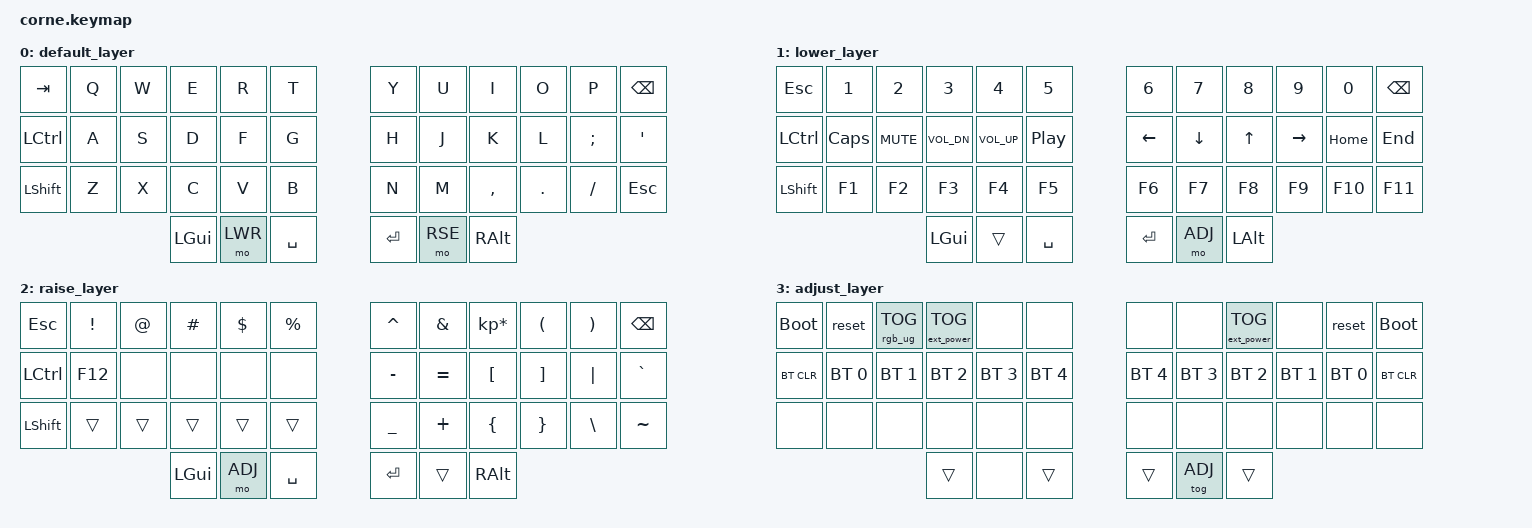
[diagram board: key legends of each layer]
/*
 * Copyright (c) 2020 The ZMK Contributors
 *
 * SPDX-License-Identifier: MIT
 */

#include <behaviors.dtsi>
#include <dt-bindings/zmk/keys.h>
#include <dt-bindings/zmk/bt.h>

#include <dt-bindings/zmk/ext_power.h>

#define DEF 0
#define LWR 1
#define RSE 2
#define ADJ 3

&mt { quick_tap_ms=<200>; };

/ {
        
    };
        keymap {
                compatible = "zmk,keymap";

                default_layer {
// -----------------------------------------------------------------------------------------
// |  TAB |  Q  |  W  |  E  |  R  |  T  |   |  Y  |  U   |  I  |  O  |  P  | BKSP |
// | CTRL |  A  |  S  |  D  |  F  |  G  |   |  H  |  J   |  K  |  L  |  ;  |  '   |
// | SHFT |  Z  |  X  |  C  |  V  |  B  |   |  N  |  M   |  ,  |  .  |  /  | ESC  |
//                    | GUI | LWR | SPC |   | ENT | RSE  | ALT |
                        bindings = <
   &kp TAB   &kp Q &kp W    &kp E &kp R &kp T       &kp Y   &kp U   &kp I     &kp O   &kp P    &kp BSPC
   &kp LCTRL &kp A &kp S    &kp D &kp F &kp G       &kp H   &kp J   &kp K     &kp L   &kp SEMI &kp SQT
   &kp LSHFT &kp Z &kp X    &kp C &kp V &kp B       &kp N   &kp M   &kp COMMA &kp DOT &kp FSLH &kp ESC
                   &kp LGUI &mo LWR     &kp SPACE   &kp RET &mo RSE &kp RALT
                        >;
                };
                lower_layer {
// -----------------------------------------------------------------------------------------
// |  ESC |  1  |  2  |  3  |  4  |  5  |   |  6  |  7  |  8  |  9  |  0  | BKSP |
// | CTRL |  F1 |  F2 |  F3 |  F4 | F5  |   |     |     |     | HOME|  UP | END  |
// | SHFT | CAPS| VOLD| VOLU| MUT | PP  |   |     |     |     | LFT | DWN | RGT  |
//                    | GUI |     | SPC |   | ENT |     | ALT |
                        bindings = <
   &kp ESC    &kp N1       &kp N2       &kp N3       &kp N4       &kp N5            &kp N6   &kp N7   &kp N8 &kp N9   &kp N0    &kp BSPC
   &kp LCTRL  &kp CAPS     &kp C_MUTE   &kp C_VOL_DN &kp C_VOL_UP   &kp C_PP        &kp LEFT   &kp DOWN   &kp UP &kp RIGHT &kp HOME    &kp END
   &kp LSHFT  &kp F1       &kp F2       &kp F3       &kp F4       &kp F5            &kp F6     &kp F7     &kp F8 &kp F9    &kp F10     &kp F11    
                                        &kp LGUI     &trans       &kp SPACE         &kp RET  &mo ADJ  &kp LALT
                        >;
                };

                raise_layer {
// -----------------------------------------------------------------------------------------
// |  ESC |  !  |  @  |  #  |  $  |  %  |   |  ^  |  &  |  *  |  (  |  )  | BKSP |
// | CTRL |     |     |     |     |     |   |  -  |  =  |  {  |  }  | "|" |  `   |
// | SHFT |     |     |     |     |     |   |  _  |  +  |  [  |  ]  |  \  |  ~   | 
//                    | GUI |     | SPC |   | ENT |     | ALT |
                        bindings = <
   &kp  ESC  &kp EXCL  &kp AT  &kp HASH  &kp DLLR  &kp PRCNT   &kp CARET &kp AMPS  &kp KP_MULTIPLY &kp LPAR &kp RPAR &kp BSPC
   &kp LCTRL &kp F12   &none   &none     &none     &none       &kp MINUS &kp EQUAL &kp LBKT        &kp RBKT &kp PIPE &kp GRAVE
   &kp LSHFT &trans    &trans  &trans    &trans    &trans      &kp UNDER &kp PLUS  &kp LBRC        &kp RBRC &kp BSLH &kp TILDE
                               &kp LGUI  &mo ADJ   &kp SPACE   &kp RET   &trans    &kp RALT
                        >;
                };               
                adjust_layer {
// -----------------------------------------------------------------------------------------
// | BLDR | RST | RGBTOG| EPTOG| VAL+| VAL-|   | VAL-| VAL+| EPTOG| RGBTOG| RST | BLDR |
// | BTCLR| BT0 | BT1   | BT2  | BT3 | BT4 |   | BT4 | BT3 | BT2  | BT1   | BT0 | BTCLR|
// | MOD+ | MOD-| HUE+  | HUE- | SAT+| SAT-|   | MOD+| MOD-| HUE+ | HUE-  | SAT+| SAT-|
//                      |      |     |     |   |     |     |      |
                bindings = <
   &bootloader     &reset          &rgb_ug RGB_TOG &ext_power EP_TOG &none           &none              &none           &none           &ext_power EP_TOG &none           &reset          &bootloader
   &bt BT_CLR      &bt BT_SEL 0    &bt BT_SEL 1    &bt BT_SEL 2      &bt BT_SEL 3    &bt BT_SEL 4       &bt BT_SEL 4    &bt BT_SEL 3    &bt BT_SEL 2      &bt BT_SEL 1    &bt BT_SEL 0    &bt BT_CLR
   &none           &none           &none           &none             &none           &none              &none           &none           &none             &none           &none           &none
                                                   &trans            &none           &trans             &trans          &tog ADJ        &trans
                        >;
                };
        };
};                
            
